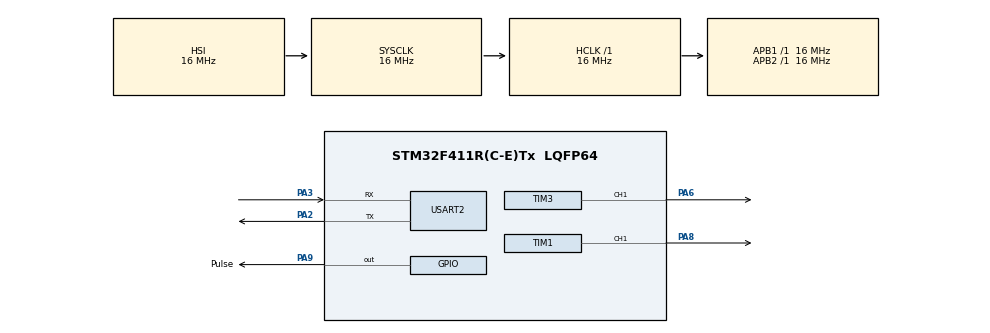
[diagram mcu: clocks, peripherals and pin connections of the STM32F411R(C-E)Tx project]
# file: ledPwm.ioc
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Mcu.Family=STM32F4
Mcu.Name=STM32F411R(C-E)Tx
Mcu.Package=LQFP64
NVIC.PriorityGroup=NVIC_PRIORITYGROUP_4
NVIC.USART2_IRQn=true\:0\:0\:false\:false\:true\:true\:true\:true
PA2.Mode=Asynchronous
PA2.Signal=USART2_TX
PA3.Mode=Asynchronous
PA3.Signal=USART2_RX
PA6.Signal=S_TIM3_CH1
PA8.Signal=S_TIM1_CH1
PA9.GPIO_Label=Pulse
PA9.Signal=GPIO_Output
ProjectManager.HeapSize=0x200
ProjectManager.StackSize=0x400
ProjectManager.TargetToolchain=STM32CubeIDE
RCC.AHBFreq_Value=16000000
RCC.APB1Freq_Value=16000000
RCC.APB2Freq_Value=16000000
RCC.CortexFreq_Value=16000000
RCC.HSE_VALUE=25000000
RCC.HSI_VALUE=16000000
RCC.LSE_VALUE=32768
RCC.SYSCLKFreq_VALUE=16000000
RCC.VCOOutputFreq_Value=192000000
SH.S_TIM1_CH1.0=TIM1_CH1,PWM Generation1 CH1
SH.S_TIM3_CH1.0=TIM3_CH1,PWM Generation1 CH1
TIM1.Channel-PWM\ Generation1\ CH1=TIM_CHANNEL_1
TIM1.Period=1000-1
TIM1.Prescaler=16-1
TIM1.Pulse-PWM\ Generation1\ CH1=500-1
TIM3.Channel-PWM\ Generation1\ CH1=TIM_CHANNEL_1
TIM3.CounterMode=TIM_COUNTERMODE_UP
TIM3.Period=1000-1
TIM3.Prescaler=16-1
TIM3.Pulse-PWM\ Generation1\ CH1=500-1
USART2.VirtualMode=VM_ASYNC
VP_TIM1_VS_ClockSourceINT.Mode=Internal
VP_TIM3_VS_ClockSourceINT.Mode=Internal
board=custom

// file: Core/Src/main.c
/* USER CODE BEGIN Header */
/**
  ******************************************************************************
  * @file           : main.c
  * @brief          : Main program body
  ******************************************************************************
  * @attention
  *
  * Copyright (c) 2024 STMicroelectronics.
  * All rights reserved.
  *
  * This software is licensed under terms that can be found in the LICENSE file
  * in the root directory of this software component.
  * If no LICENSE file comes with this software, it is provided AS-IS.
  *
  ******************************************************************************
  */
/* USER CODE END Header */
#include "main.h"

/* USER CODE BEGIN Includes */
#include "uart.h"
/* USER CODE END Includes */

TIM_HandleTypeDef htim1;
TIM_HandleTypeDef htim3;

UART_HandleTypeDef huart2;

void SystemClock_Config(void);
static void MX_GPIO_Init(void);
static void MX_TIM1_Init(void);
static void MX_TIM3_Init(void);
static void MX_USART2_UART_Init(void);

/* USER CODE BEGIN 0 */
int soundLUT[] = {131, 147, 165, 175, 196, 220, 247, 262};

int countSinLed = 0;
int countPulseLed = 0;
int countSound = 0;

void sysTickCallback()	// ?��기에 1ms마다 ?��?��?���????? ?��?��?��?��
{
		if(countSinLed > 0) countSinLed--;
		if(countPulseLed > 0) countPulseLed--;
		if(countSound > 0) countSound--;
}

void setSound(int freq)
{
	htim3.Instance->ARR = 1000000 / freq - 1;
	htim3.Instance->CCR1 = htim3.Instance->ARR / 2;
}

void stopSound()
{
	htim3.Instance->CCR1 = 0;
}

/* USER CODE END 0 */

int main(void)
{

  /* MCU Configuration--------------------------------------------------------*/

  /* Reset of all peripherals, Initializes the Flash interface and the Systick. */
  HAL_Init();

  /* Configure the system clock */
  SystemClock_Config();

  /* Initialize all configured peripherals */
  MX_GPIO_Init();
  MX_TIM1_Init();
  MX_TIM3_Init();
  MX_USART2_UART_Init();
  /* USER CODE BEGIN 2 */

  initUart(&huart2);

// Start PWM
	HAL_TIM_PWM_Start (&htim1, TIM_CHANNEL_1);
	HAL_TIM_PWM_Start (&htim3, TIM_CHANNEL_1);
  /* USER CODE END 2 */

  /* Infinite loop */
  /* USER CODE BEGIN WHILE */
	while (1)
		{
//  		for (int i = 0; i < 11; i++)
//  			{
//  	  		htim1.Instance->CCR1 = 1 << i;
//  	  		HAL_Delay(100);
//  			}
//  		for(int i = 0; i < 11; i++)
//  			{
//  				htim1.Instance->CCR1 = 1 << (10-i);
//  				HAL_Delay(100);
//  			}
			if (countSinLed == 0)
				{
					countSinLed = 5; //	(5ms마다 ?��?�� ?��?��)
					//	HAL_Delay (5);

					static int angle = 0;
					angle++;
					angle %= 360;
					int value = sin (angle * 3.14 / 180) * 499 + 499;
					htim1.Instance->CCR1 = value;
				}

			if (countPulseLed == 0)
				{
					countPulseLed = 125;
					HAL_GPIO_TogglePin (Pulse_GPIO_Port, Pulse_Pin);
				}

			if (countSound == 0)
				{
//					countSound = 100;
//					static int num = 0;
//					setSound (soundLUT[num]);
//					num++;
//					num %= 8;
					countSound = 500;
					stopSound();
					//	receive area
					char ch = getChar();
					switch(ch)
					{
						case 'c' :
							setSound(soundLUT[0]);
							break;
						case 'd' :
							setSound(soundLUT[1]);
							break;
						case 'e' :
							setSound(soundLUT[2]);
							break;
						case 'f' :
							setSound(soundLUT[3]);
							break;
						case 'g' :
							setSound(soundLUT[4]);
							break;
						case 'a' :
							setSound(soundLUT[5]);
							break;
						case 'b' :
							setSound(soundLUT[6]);
							break;
						case 'C' :
							setSound(soundLUT[7]);
							break;
					}
				}
		}
    /* USER CODE END WHILE */

}

void SystemClock_Config(void)
{
  RCC_OscInitTypeDef RCC_OscInitStruct = {0};
  RCC_ClkInitTypeDef RCC_ClkInitStruct = {0};

  /** Configure the main internal regulator output voltage
  */
  __HAL_RCC_PWR_CLK_ENABLE();
  __HAL_PWR_VOLTAGESCALING_CONFIG(PWR_REGULATOR_VOLTAGE_SCALE1);

  /** Initializes the RCC Oscillators according to the specified parameters
  * in the RCC_OscInitTypeDef structure.
  */
  RCC_OscInitStruct.OscillatorType = RCC_OSCILLATORTYPE_HSI;
  RCC_OscInitStruct.HSIState = RCC_HSI_ON;
  RCC_OscInitStruct.HSICalibrationValue = RCC_HSICALIBRATION_DEFAULT;
  RCC_OscInitStruct.PLL.PLLState = RCC_PLL_NONE;
  if (HAL_RCC_OscConfig(&RCC_OscInitStruct) != HAL_OK)
  {
    Error_Handler();
  }

  /** Initializes the CPU, AHB and APB buses clocks
  */
  RCC_ClkInitStruct.ClockType = RCC_CLOCKTYPE_HCLK|RCC_CLOCKTYPE_SYSCLK
                              |RCC_CLOCKTYPE_PCLK1|RCC_CLOCKTYPE_PCLK2;
  RCC_ClkInitStruct.SYSCLKSource = RCC_SYSCLKSOURCE_HSI;
  RCC_ClkInitStruct.AHBCLKDivider = RCC_SYSCLK_DIV1;
  RCC_ClkInitStruct.APB1CLKDivider = RCC_HCLK_DIV1;
  RCC_ClkInitStruct.APB2CLKDivider = RCC_HCLK_DIV1;

  if (HAL_RCC_ClockConfig(&RCC_ClkInitStruct, FLASH_LATENCY_0) != HAL_OK)
  {
    Error_Handler();
  }
}

static void MX_TIM1_Init(void)
{

  TIM_ClockConfigTypeDef sClockSourceConfig = {0};
  TIM_MasterConfigTypeDef sMasterConfig = {0};
  TIM_OC_InitTypeDef sConfigOC = {0};
  TIM_BreakDeadTimeConfigTypeDef sBreakDeadTimeConfig = {0};

  htim1.Instance = TIM1;
  htim1.Init.Prescaler = 16-1;
  htim1.Init.CounterMode = TIM_COUNTERMODE_UP;
  htim1.Init.Period = 1000-1;
  htim1.Init.ClockDivision = TIM_CLOCKDIVISION_DIV1;
  htim1.Init.RepetitionCounter = 0;
  htim1.Init.AutoReloadPreload = TIM_AUTORELOAD_PRELOAD_DISABLE;
  if (HAL_TIM_Base_Init(&htim1) != HAL_OK)
  {
    Error_Handler();
  }
  sClockSourceConfig.ClockSource = TIM_CLOCKSOURCE_INTERNAL;
  if (HAL_TIM_ConfigClockSource(&htim1, &sClockSourceConfig) != HAL_OK)
  {
    Error_Handler();
  }
  if (HAL_TIM_PWM_Init(&htim1) != HAL_OK)
  {
    Error_Handler();
  }
  sMasterConfig.MasterOutputTrigger = TIM_TRGO_RESET;
  sMasterConfig.MasterSlaveMode = TIM_MASTERSLAVEMODE_DISABLE;
  if (HAL_TIMEx_MasterConfigSynchronization(&htim1, &sMasterConfig) != HAL_OK)
  {
    Error_Handler();
  }
  sConfigOC.OCMode = TIM_OCMODE_PWM1;
  sConfigOC.Pulse = 500-1;
  sConfigOC.OCPolarity = TIM_OCPOLARITY_HIGH;
  sConfigOC.OCNPolarity = TIM_OCNPOLARITY_HIGH;
  sConfigOC.OCFastMode = TIM_OCFAST_DISABLE;
  sConfigOC.OCIdleState = TIM_OCIDLESTATE_RESET;
  sConfigOC.OCNIdleState = TIM_OCNIDLESTATE_RESET;
  if (HAL_TIM_PWM_ConfigChannel(&htim1, &sConfigOC, TIM_CHANNEL_1) != HAL_OK)
  {
    Error_Handler();
  }
  sBreakDeadTimeConfig.OffStateRunMode = TIM_OSSR_DISABLE;
  sBreakDeadTimeConfig.OffStateIDLEMode = TIM_OSSI_DISABLE;
  sBreakDeadTimeConfig.LockLevel = TIM_LOCKLEVEL_OFF;
  sBreakDeadTimeConfig.DeadTime = 0;
  sBreakDeadTimeConfig.BreakState = TIM_BREAK_DISABLE;
  sBreakDeadTimeConfig.BreakPolarity = TIM_BREAKPOLARITY_HIGH;
  sBreakDeadTimeConfig.AutomaticOutput = TIM_AUTOMATICOUTPUT_DISABLE;
  if (HAL_TIMEx_ConfigBreakDeadTime(&htim1, &sBreakDeadTimeConfig) != HAL_OK)
  {
    Error_Handler();
  }
  HAL_TIM_MspPostInit(&htim1);

}

static void MX_TIM3_Init(void)
{

  TIM_ClockConfigTypeDef sClockSourceConfig = {0};
  TIM_MasterConfigTypeDef sMasterConfig = {0};
  TIM_OC_InitTypeDef sConfigOC = {0};

  htim3.Instance = TIM3;
  htim3.Init.Prescaler = 16-1;
  htim3.Init.CounterMode = TIM_COUNTERMODE_UP;
  htim3.Init.Period = 1000-1;
  htim3.Init.ClockDivision = TIM_CLOCKDIVISION_DIV1;
  htim3.Init.AutoReloadPreload = TIM_AUTORELOAD_PRELOAD_DISABLE;
  if (HAL_TIM_Base_Init(&htim3) != HAL_OK)
  {
    Error_Handler();
  }
  sClockSourceConfig.ClockSource = TIM_CLOCKSOURCE_INTERNAL;
  if (HAL_TIM_ConfigClockSource(&htim3, &sClockSourceConfig) != HAL_OK)
  {
    Error_Handler();
  }
  if (HAL_TIM_PWM_Init(&htim3) != HAL_OK)
  {
    Error_Handler();
  }
  sMasterConfig.MasterOutputTrigger = TIM_TRGO_RESET;
  sMasterConfig.MasterSlaveMode = TIM_MASTERSLAVEMODE_DISABLE;
  if (HAL_TIMEx_MasterConfigSynchronization(&htim3, &sMasterConfig) != HAL_OK)
  {
    Error_Handler();
  }
  sConfigOC.OCMode = TIM_OCMODE_PWM1;
  sConfigOC.Pulse = 500-1;
  sConfigOC.OCPolarity = TIM_OCPOLARITY_HIGH;
  sConfigOC.OCFastMode = TIM_OCFAST_DISABLE;
  if (HAL_TIM_PWM_ConfigChannel(&htim3, &sConfigOC, TIM_CHANNEL_1) != HAL_OK)
  {
    Error_Handler();
  }
  HAL_TIM_MspPostInit(&htim3);

}

static void MX_USART2_UART_Init(void)
{

  huart2.Instance = USART2;
  huart2.Init.BaudRate = 115200;
  huart2.Init.WordLength = UART_WORDLENGTH_8B;
  huart2.Init.StopBits = UART_STOPBITS_1;
  huart2.Init.Parity = UART_PARITY_NONE;
  huart2.Init.Mode = UART_MODE_TX_RX;
  huart2.Init.HwFlowCtl = UART_HWCONTROL_NONE;
  huart2.Init.OverSampling = UART_OVERSAMPLING_16;
  if (HAL_UART_Init(&huart2) != HAL_OK)
  {
    Error_Handler();
  }

}

static void MX_GPIO_Init(void)
{
  GPIO_InitTypeDef GPIO_InitStruct = {0};

  /* GPIO Ports Clock Enable */
  __HAL_RCC_GPIOA_CLK_ENABLE();

  /*Configure GPIO pin Output Level */
  HAL_GPIO_WritePin(Pulse_GPIO_Port, Pulse_Pin, GPIO_PIN_RESET);

  /*Configure GPIO pin : Pulse_Pin */
  GPIO_InitStruct.Pin = Pulse_Pin;
  GPIO_InitStruct.Mode = GPIO_MODE_OUTPUT_PP;
  GPIO_InitStruct.Pull = GPIO_NOPULL;
  GPIO_InitStruct.Speed = GPIO_SPEED_FREQ_LOW;
  HAL_GPIO_Init(Pulse_GPIO_Port, &GPIO_InitStruct);

}

void Error_Handler(void)
{
  __disable_irq();
  while (1)
  {
  }
}
